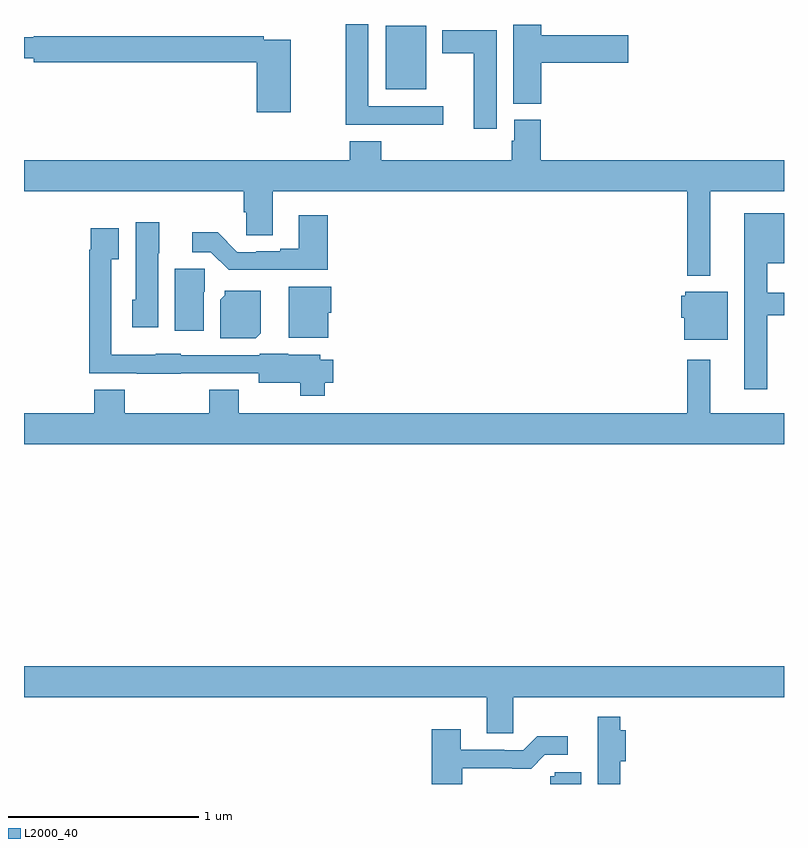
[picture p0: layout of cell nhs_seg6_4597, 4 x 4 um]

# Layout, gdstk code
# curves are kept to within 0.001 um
import gdstk
lib = gdstk.Library(unit=1e-6, precision=1e-09)
def R(c, l, rs):  # rectangles x0, y0, x1, y1
    for r in rs: c.add(gdstk.rectangle(r[:2], r[2:], *l))
def P(c, l, *ps):  # polygons
    for p in ps: c.add(gdstk.Polygon(p, *l))
L2000_40 = (2000, 40)

nhs_seg6_4597 = lib.new_cell('nhs_seg6_4597')
R(nhs_seg6_4597, L2000_40, [(382.904,997.157,383.116,997.492)])
P(nhs_seg6_4597, L2000_40, [(383.206,997.068),(382.813,997.068),(382.813,997.5),(382.693,997.5),(382.693,996.971),(383.206,996.971)],
  [(383.723,997.295),(384.181,997.295),(384.181,997.442),(383.723,997.442),(383.723,997.496),(383.576,997.496),(383.576,997.081),(383.723,997.081)],
  [(383.488,997.468),(383.201,997.468),(383.201,997.346),(383.366,997.346),(383.366,996.948),(383.488,996.948)],
  [(382.404,997.416),(382.262,997.416),(382.262,997.436),(381.05,997.436),(381.05,997.429),(381,997.429),(381,997.319),(381.052,997.319),(381.052,997.3),(382.226,997.3),(382.226,997.035),(382.404,997.035)],
  [(384.613,996.62),(385,996.62),(385,996.784),(383.72,996.784),(383.72,996.996),(383.579,996.996),(383.579,996.885),(383.567,996.885),(383.567,996.784),(382.88,996.784),(382.88,996.883),(382.715,996.883),(382.715,996.784),(381,996.784),(381,996.62),(382.157,996.62),(382.157,996.51),(382.17,996.51),(382.17,996.388),(382.309,996.388),(382.309,996.62),(384.492,996.62),(384.492,996.176),(384.613,996.176)],
  [(384.913,995.968),(385,995.968),(385,996.085),(384.913,996.085),(384.913,996.242),(385,996.242),(385,996.505),(384.791,996.505),(384.791,995.577),(384.913,995.577)],
  [(382.598,996.493),(382.445,996.493),(382.445,996.316),(382.349,996.316),(382.349,996.303),(382.222,996.303),(382.222,996.3),(382.122,996.3),(382.02,996.403),(381.885,996.403),(381.885,996.3),(381.984,996.3),(382.078,996.206),(382.598,996.206)],
  [(381.706,996.294),(381.712,996.294),(381.712,996.457),(381.587,996.457),(381.587,996.048),(381.569,996.048),(381.569,995.904),(381.706,995.904)],
  [(382.583,995.612),(382.628,995.612),(382.628,995.734),(382.56,995.734),(382.56,995.758),(382.392,995.758),(382.392,995.764),(382.242,995.764),(382.242,995.757),(381.825,995.757),(381.825,995.764),(381.693,995.764),(381.693,995.758),(381.459,995.758),(381.459,996.263),(381.499,996.263),(381.499,996.424),(381.351,996.424),(381.351,996.311),(381.343,996.311),(381.343,995.661),(381.593,995.661),(381.593,995.66),(381.825,995.66),(381.825,995.661),(382.235,995.661),(382.235,995.612),(382.455,995.612),(382.455,995.543),(382.583,995.543)],
  [(381.946,996.09),(381.95,996.09),(381.95,996.213),(381.794,996.213),(381.794,995.886),(381.946,995.886)],
  [(382.6,995.979),(382.618,995.979),(382.618,996.118),(382.394,996.118),(382.394,995.849),(382.6,995.849)],
  [(382.246,995.872),(382.246,996.097),(382.056,996.097),(382.056,996.072),(382.034,996.05),(382.034,995.846),(382.22,995.846)],
  [(384.703,996.091),(384.48,996.091),(384.48,996.069),(384.458,996.069),(384.458,995.955),(384.476,995.955),(384.476,995.837),(384.703,995.837)],
  [(385,995.452),(384.613,995.452),(384.613,995.734),(384.492,995.734),(384.492,995.452),(382.131,995.452),(382.131,995.576),(381.976,995.576),(381.976,995.452),(381.531,995.452),(381.531,995.576),(381.371,995.576),(381.371,995.452),(381,995.452),(381,995.288),(385,995.288)],
  [(383.574,993.956),(385,993.956),(385,994.12),(381,994.12),(381,993.956),(383.435,993.956),(383.435,993.766),(383.574,993.766)],
  [(384.137,993.619),(384.167,993.619),(384.167,993.784),(384.137,993.784),(384.137,993.853),(384.02,993.853),(384.02,993.63),(384.021,993.63),(384.021,993.5),(384.137,993.5)],
  [(383.307,993.582),(383.669,993.581),(383.742,993.654),(383.863,993.654),(383.863,993.751),(383.701,993.751),(383.628,993.678),(383.528,993.678),(383.528,993.681),(383.299,993.681),(383.299,993.787),(383.147,993.787),(383.147,993.5),(383.307,993.5)],
  [(383.932,993.561),(383.793,993.561),(383.793,993.54),(383.771,993.54),(383.771,993.5),(383.932,993.5)])

lib.write_gds('nhs_seg6_4597.gds')
